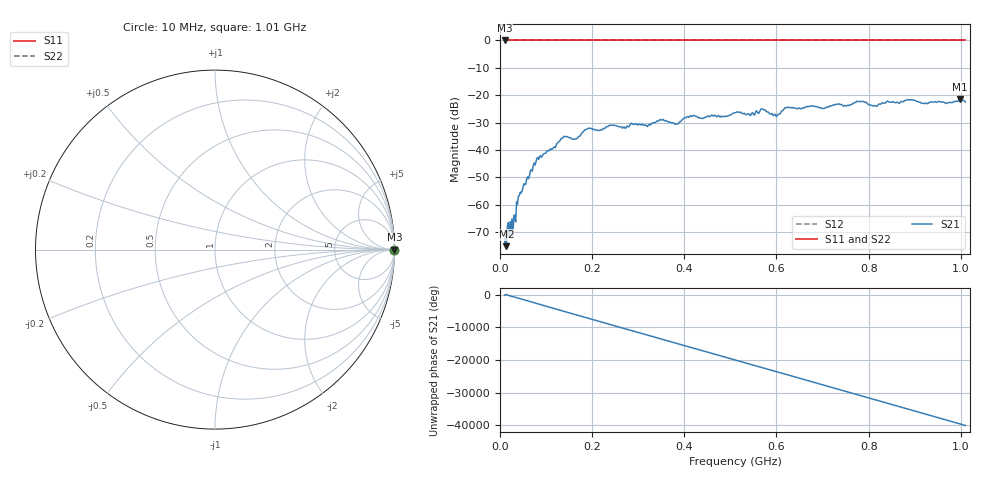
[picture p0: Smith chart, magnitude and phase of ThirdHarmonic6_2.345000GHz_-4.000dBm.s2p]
! 8/17/2025 3:29:29 AM
! C:\ANRITSUVNA\TEMP\TEMP.S2P
! CHANNEL.1
! TR.MEASUREMENT
! RAW.DATA
! RF.CORRECTION.OFF
! AVERAGING.OFF
! IF.BANDWIDTH: 5KHZ
! SWEEPTYPE:  FREQ.SWEEP(Linear)
! Reference Plane Port Info
! PORT:  PORT1  PORT2
! DISTANCE:  0  m  0  m
! TIME:  0  s  0  s
! PHASE.OFFSET:  0  deg.  0  deg.
! LOSS:  0  dB  0  dB
! REF.LOSS:  0  dB  0  dB
! REF.FREQ:  0  Hz  0  Hz
! Power Info
! POWER:  -20  dBm  -20  dBm
! EFF.POWER:  -20  dBm  -20  dBm
! SOURCE.ATTEN:  0  dB  0  dB
! TEST.ATTEN:  0  dB  0  dB
# GHZ S RI R 50.0
! FREQ.GHZ  S11RE  S11IM  S21RE  S21IM  S12RE  S12IM  S22RE  S22IM
!; PortSelection: Port_12
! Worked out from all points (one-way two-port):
!   501 points, 10 MHz to 1.01 GHz, reference 50 ohm
!   highest |S21| = -21.41 dB at 998 MHz (marker M1); lowest = -75.1 dB at 14 MHz (marker M2)
!   lowest |S11| = 0.0 dB at 10 MHz (marker M3)
!   |S11| at or under -10 dB: nowhere
!   |S22| runs from 0.0 to 0.0 dB; largest |S21 - S12| = 1.1
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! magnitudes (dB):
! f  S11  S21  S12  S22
! 10 MHz  0.0  -74.3  0.0  0.0
! 14 MHz  0.0  -75.1  0.0  0.0
! 30 MHz  0.0  -64.0  0.0  0.0
! 40 MHz  0.0  -56.8  0.0  0.0
! 78 MHz  0.0  -44.3  0.0  0.0
! 136 MHz  0.0  -35.6  0.0  0.0
! 162 MHz  0.0  -36.0  0.0  0.0
! 178 MHz  0.0  -33.7  0.0  0.0
! 192 MHz  0.0  -32.1  0.0  0.0
! 322 MHz  0.0  -31.0  0.0  0.0
! 344 MHz  0.0  -29.4  0.0  0.0
! 384 MHz  0.0  -30.4  0.0  0.0
! 416 MHz  0.0  -27.7  0.0  0.0
! 510 MHz  0.0  -26.4  0.0  0.0
! 548 MHz  0.0  -26.4  0.0  0.0
! 570 MHz  0.0  -25.0  0.0  0.0
! 598 MHz  0.0  -27.2  0.0  0.0
! 622 MHz  0.0  -24.5  0.0  0.0
! 678 MHz  0.0  -24.0  0.0  0.0
! 844 MHz  0.0  -22.5  0.0  0.0
! 998 MHz  0.0  -21.4  0.0  0.0
! 1.01 GHz  0.0  -22.4  0.0  0.0
